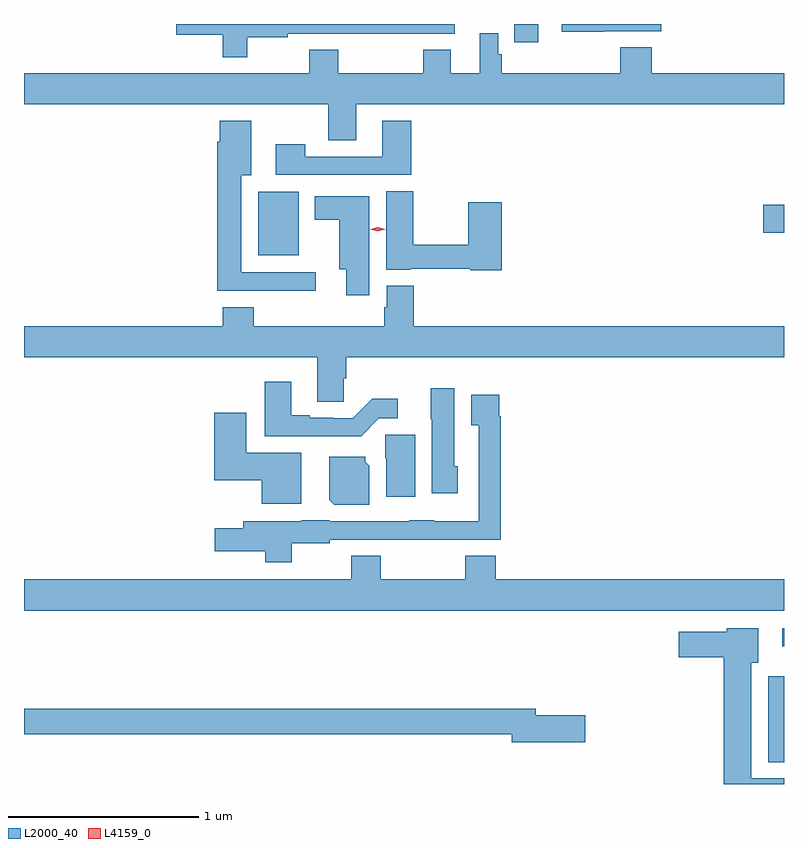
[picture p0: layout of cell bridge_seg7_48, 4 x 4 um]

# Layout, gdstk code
import gdstk
lib = gdstk.Library(unit=1e-6, precision=1e-09)
def R(c, l, rs):  # rectangles x0, y0, x1, y1
    for r in rs: c.add(gdstk.rectangle(r[:2], r[2:], *l))
def P(c, l, *ps):  # polygons
    for p in ps: c.add(gdstk.Polygon(p, *l))
L2000_40 = (2000, 40)
L4159_0 = (4159, 0)

bridge_seg7_48 = lib.new_cell('bridge_seg7_48')
R(bridge_seg7_48, L2000_40, [(972.776,1031.785,972.86,1032.238), (972.852,1032.396,972.86,1032.492), (970.094,1034.453,970.306,1034.788), (972.75,1034.573,972.86,1034.72), (971.44,1035.576,971.566,1035.671)])
P(bridge_seg7_48, L2000_40, [(970.036,1035.602),(970.248,1035.602),(970.248,1035.621),(970.665,1035.621),(970.665,1035.62),(970.897,1035.62),(970.897,1035.621),(971.127,1035.621),(971.127,1035.671),(969.661,1035.671),(969.661,1035.614),(969.907,1035.614),(969.907,1035.497),(970.036,1035.497)],
  [(971.915,1035.633),(972.215,1035.633),(972.215,1035.671),(971.691,1035.671),(971.691,1035.631),(971.915,1035.631)],
  [(970.609,1035.248),(972.86,1035.248),(972.86,1035.412),(972.164,1035.412),(972.164,1035.548),(971.999,1035.548),(971.999,1035.412),(971.375,1035.412),(971.375,1035.513),(971.355,1035.513),(971.355,1035.622),(971.258,1035.622),(971.258,1035.412),(971.107,1035.412),(971.107,1035.536),(970.96,1035.536),(970.96,1035.412),(970.515,1035.412),(970.515,1035.536),(970.36,1035.536),(970.36,1035.412),(968.86,1035.412),(968.86,1035.248),(970.462,1035.248),(970.462,1035.058),(970.609,1035.058)],
  [(970.898,1035.163),(970.745,1035.163),(970.745,1034.973),(970.341,1034.973),(970.341,1035.037),(970.185,1035.037),(970.185,1034.877),(970.898,1034.877)],
  [(970.396,1034.364),(970.003,1034.364),(970.003,1034.876),(970.057,1034.876),(970.057,1035.163),(969.89,1035.163),(969.89,1035.05),(969.878,1035.05),(969.878,1034.267),(970.396,1034.267)],
  [(971.375,1034.734),(971.197,1034.734),(971.197,1034.51),(970.908,1034.51),(970.908,1034.792),(970.766,1034.792),(970.766,1034.378),(970.896,1034.378),(970.896,1034.382),(971.208,1034.382),(971.208,1034.374),(971.375,1034.374)],
  [(970.678,1034.764),(970.391,1034.764),(970.391,1034.642),(970.52,1034.642),(970.52,1034.381),(970.556,1034.381),(970.556,1034.244),(970.678,1034.244)],
  [(970.542,1033.806),(970.556,1033.806),(970.556,1033.916),(972.86,1033.916),(972.86,1034.08),(970.91,1034.08),(970.91,1034.293),(970.769,1034.293),(970.769,1034.181),(970.757,1034.181),(970.757,1034.08),(970.07,1034.08),(970.07,1034.179),(969.905,1034.179),(969.905,1034.08),(968.86,1034.08),(968.86,1033.916),(970.403,1033.916),(970.403,1033.684),(970.542,1033.684)],
  [(970.728,1033.596),(970.828,1033.596),(970.828,1033.699),(970.693,1033.699),(970.59,1033.596),(970.49,1033.596),(970.49,1033.599),(970.363,1033.599),(970.363,1033.612),(970.267,1033.612),(970.267,1033.789),(970.127,1033.789),(970.127,1033.502),(970.634,1033.502)],
  [(971.143,1033.344),(971.125,1033.344),(971.125,1033.753),(971,1033.753),(971,1033.59),(971.006,1033.59),(971.006,1033.2),(971.143,1033.2)],
  [(970.27,1032.938),(970.47,1032.938),(970.47,1032.957),(970.887,1032.957),(970.887,1032.956),(971.119,1032.956),(971.119,1032.957),(971.369,1032.957),(971.369,1033.607),(971.362,1033.607),(971.362,1033.72),(971.213,1033.72),(971.213,1033.559),(971.253,1033.559),(971.253,1033.054),(971.019,1033.054),(971.019,1033.06),(970.887,1033.06),(970.887,1033.053),(970.47,1033.053),(970.47,1033.06),(970.32,1033.06),(970.32,1033.054),(970.013,1033.054),(970.013,1033.018),(969.864,1033.018),(969.864,1032.896),(970.129,1032.896),(970.129,1032.839),(970.27,1032.839)],
  [(970.318,1033.414),(970.03,1033.414),(970.03,1033.624),(969.86,1033.624),(969.86,1033.271),(970.112,1033.271),(970.112,1033.145),(970.318,1033.145)],
  [(970.918,1033.509),(970.762,1033.509),(970.762,1033.386),(970.766,1033.386),(970.766,1033.182),(970.918,1033.182)],
  [(970.678,1033.346),(970.656,1033.368),(970.656,1033.393),(970.466,1033.393),(970.466,1033.168),(970.492,1033.142),(970.678,1033.142)],
  [(972.86,1032.748),(971.342,1032.748),(971.342,1032.872),(971.182,1032.872),(971.182,1032.748),(970.737,1032.748),(970.737,1032.872),(970.582,1032.872),(970.582,1032.748),(968.86,1032.748),(968.86,1032.584),(972.86,1032.584)],
  [(972.86,1031.7),(972.688,1031.7),(972.688,1032.308),(972.724,1032.308),(972.724,1032.49),(972.558,1032.49),(972.558,1032.472),(972.306,1032.472),(972.306,1032.338),(972.542,1032.338),(972.542,1031.671),(972.86,1031.671)],
  [(971.815,1032.032),(971.554,1032.032),(971.554,1032.068),(968.86,1032.068),(968.86,1031.932),(971.426,1031.932),(971.426,1031.89),(971.815,1031.89)])
P(bridge_seg7_48, L4159_0, [(970.722,1034.58),(970.682,1034.59),(970.682,1034.59),(970.682,1034.59),(970.722,1034.6),(970.762,1034.59),(970.762,1034.59),(970.762,1034.59)])

lib.write_gds('bridge_seg7_48.gds')
